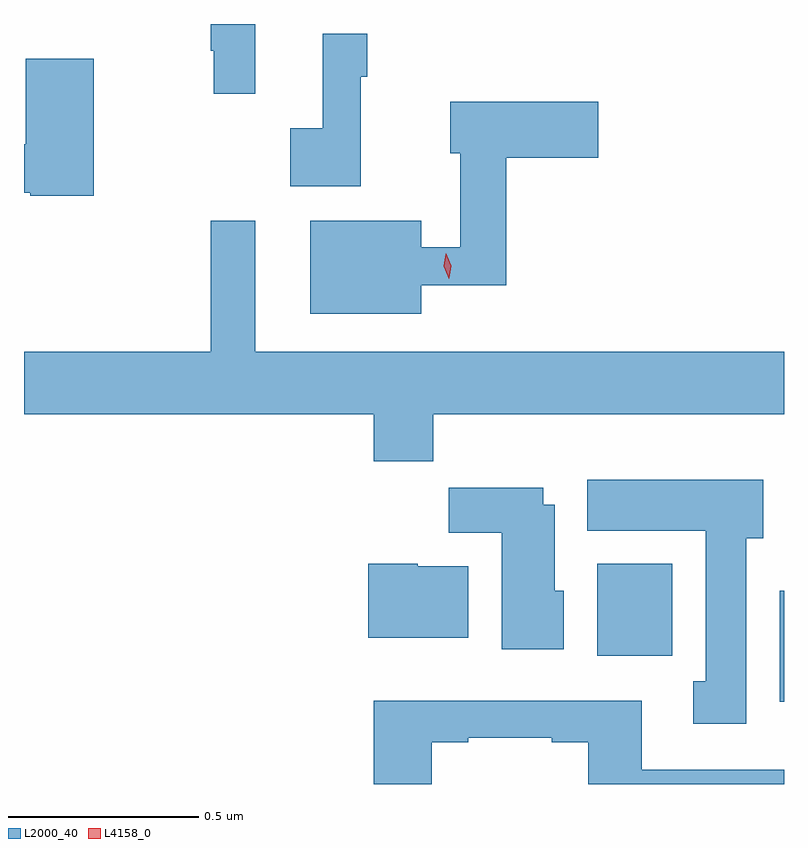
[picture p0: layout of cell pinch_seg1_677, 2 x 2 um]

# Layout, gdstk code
import gdstk
lib = gdstk.Library(unit=1e-6, precision=1e-09)
def R(c, l, rs):  # rectangles x0, y0, x1, y1
    for r in rs: c.add(gdstk.rectangle(r[:2], r[2:], *l))
def P(c, l, *ps):  # polygons
    for p in ps: c.add(gdstk.Polygon(p, *l))
L2000_40 = (2000, 40)
L4158_0 = (4158, 0)

pinch_seg1_677 = lib.new_cell('pinch_seg1_677')
R(pinch_seg1_677, L2000_40, [(865.955,562.964,865.966,563.256), (865.475,563.084,865.672,563.326)])
P(pinch_seg1_677, L2000_40, [(864.575,564.747),(864.457,564.747),(864.457,564.676),(864.465,564.676),(864.465,564.564),(864.575,564.564)],
  [(864.852,564.608),(864.869,564.608),(864.869,564.721),(864.752,564.721),(864.752,564.473),(864.666,564.473),(864.666,564.32),(864.852,564.32)],
  [(864.149,564.655),(863.971,564.655),(863.971,564.431),(863.966,564.431),(863.966,564.303),(863.982,564.303),(863.982,564.295),(864.149,564.295)],
  [(865.012,564.059),(865.235,564.059),(865.235,564.395),(865.477,564.395),(865.477,564.542),(865.088,564.542),(865.088,564.407),(865.114,564.407),(865.114,564.159),(865.012,564.159),(865.012,564.229),(864.719,564.229),(864.719,563.984),(865.012,563.984)],
  [(865.043,563.72),(865.966,563.72),(865.966,563.884),(864.574,563.884),(864.574,564.229),(864.457,564.229),(864.457,563.884),(863.966,563.884),(863.966,563.72),(864.887,563.72),(864.887,563.596),(865.043,563.596)],
  [(865.867,563.394),(865.912,563.394),(865.912,563.548),(865.448,563.548),(865.448,563.414),(865.76,563.414),(865.76,563.018),(865.727,563.018),(865.727,562.905),(865.867,562.905)],
  [(865.387,563.256),(865.363,563.256),(865.363,563.482),(865.333,563.482),(865.333,563.527),(865.084,563.527),(865.084,563.408),(865.223,563.408),(865.223,563.102),(865.387,563.102)],
  [(865.135,563.32),(865.002,563.32),(865.002,563.326),(864.872,563.326),(864.872,563.132),(865.135,563.132)],
  [(865.039,562.857),(865.135,562.857),(865.135,562.869),(865.355,562.869),(865.355,562.857),(865.451,562.857),(865.451,562.747),(865.966,562.747),(865.966,562.785),(865.591,562.785),(865.591,562.966),(864.887,562.966),(864.887,562.747),(865.039,562.747)])
P(pinch_seg1_677, L4158_0, [(865.084,564.077),(865.084,564.078),(865.07,564.109),(865.076,564.143),(865.076,564.143),(865.077,564.143),(865.09,564.111),(865.085,564.078)])

lib.write_gds('pinch_seg1_677.gds')
